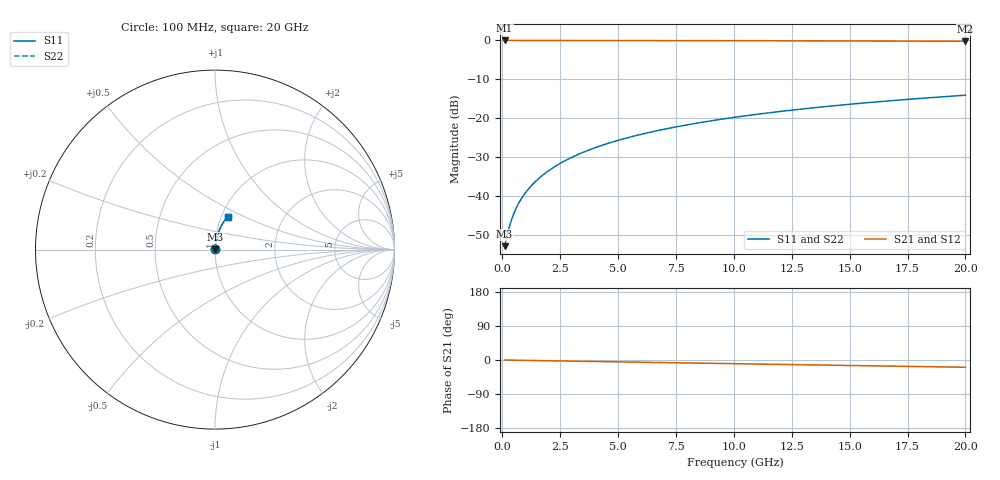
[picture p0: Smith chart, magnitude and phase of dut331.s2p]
! Touchstone file exported from HFSS 2026.1.0
!  File:  C:/ffzhzh/LocalFiles/Ansys_Project_Files/temp_train_TMRDL_331_1783003665_55676.aedt
!  Generated:  10:49:07 PM Jul  2, 2026
!  Design:  TMRDL
!  Project:  temp_train_TMRDL_331_1783003665_55676
! Variables:
!  h_bsmrdl = 2um
!  h_ox = 20um
!  h_rdl = 5um
!  h_sub = 80um
!  h_tmrdl = 2.18um
!  h_tsv = 80um
!  h_via = 3um
!  l_bsmrdl = 300um
!  l_sub = 633.2um
!  l_tmrdl = 233.2um
!  m_sub = 200um
!  pitch = 50.36um
!  r_tsv = 6um
!  s_tmrdl = 10um
!  w_bsmrdl = 18um
!  w_sub = 500um
!  w_tmrdl = 24.62um
!  x_tsv_center1 = 245.51um
!  x_tsv_center2 = 563.51um
!  x_tsv_center3 = 821.33um
!  x_tsv_center4 = 1139.33um
!  x_tsv_center5 = 1397.15um
!  x_tsv_center6 = 1715.15um
# GHz S MA R 50.000000
! Terminal data exported
! Port[1] = TM_RDL1_1_T1
! Port[2] = TM_RDL1_1_T2
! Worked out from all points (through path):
!   200 points, 100 MHz to 20 GHz, reference 50 ohm
!   highest |S21| = -0.02 dB at 100 MHz (marker M1); lowest = -0.2 dB at 20 GHz (marker M2)
!   group delay of S21, straight-line fit = 2.67 ps
!   lowest |S11| = -53.0 dB at 100 MHz (marker M3), VSWR 1.00, Z = 50.2 + j0.114 ohm
!   |S11| at or under -10 dB: start of sweep to end of sweep
!   |S22| runs from -53.0 to -14.1 dB; largest |S21 - S12| = 4e-15
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0.1  0.002251 30.4  0.9981 -0.1  0.9981 -0.1  0.002251 30.4
! Gamma 0 0 0 0
! Port Impedance 50 0 50 0
0.2  0.003017 48.6  0.998 -0.2  0.998 -0.2  0.003017 48.6
0.3  0.00395 58.4  0.9979 -0.3  0.9979 -0.3  0.00395 58.4
0.4  0.004937 64.1  0.9979 -0.4  0.9979 -0.4  0.004937 64.1
0.5  0.005937 67.8  0.9978 -0.5  0.9978 -0.5  0.005937 67.8
0.6  0.006939 70.4  0.9977 -0.6  0.9977 -0.6  0.006939 70.4
0.8  0.00894 73.9  0.9976 -0.8  0.9976 -0.8  0.00894 73.9
1.1  0.01195 77.0  0.9975 -1.1  0.9975 -1.1  0.01195 77.0
1.3  0.01396 78.4  0.9974 -1.3  0.9974 -1.3  0.01396 78.4
1.6  0.01699 79.7  0.9973 -1.6  0.9973 -1.6  0.01699 79.8
2.1  0.02207 81.1  0.9971 -2.1  0.9971 -2.1  0.02207 81.1
2.7  0.0282 81.9  0.9969 -2.7  0.9969 -2.7  0.0282 81.9
3.5  0.03638 82.2  0.9966 -3.4  0.9966 -3.4  0.03638 82.2
4.2  0.04354 82.1  0.9962 -4.1  0.9962 -4.1  0.04354 82.1
5  0.05171 81.8  0.9957 -4.9  0.9957 -4.9  0.05171 81.9
5.9  0.06088 81.3  0.9951 -5.8  0.9951 -5.8  0.06088 81.4
6.8  0.07 80.7  0.9944 -6.7  0.9944 -6.7  0.07 80.8
8.3  0.08512 79.6  0.993 -8.1  0.993 -8.1  0.08512 79.6
10.1  0.1031 78.1  0.991 -9.9  0.991 -9.9  0.1031 78.1
13.4  0.1354 75.2  0.9866 -13.0  0.9866 -13.0  0.1354 75.2
16.7  0.1668 72.2  0.9812 -16.1  0.9812 -16.1  0.1667 72.2
20  0.1971 69.2  0.975 -19.2  0.975 -19.2  0.1971 69.3
